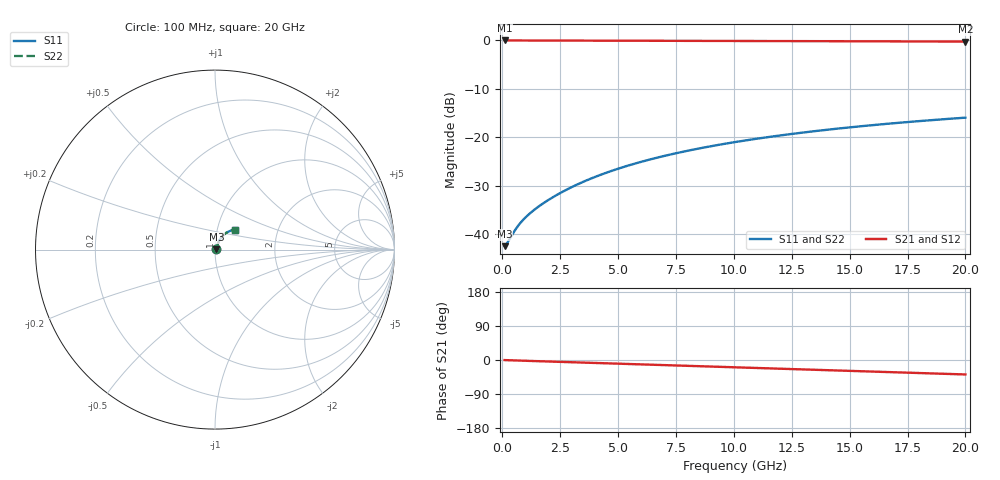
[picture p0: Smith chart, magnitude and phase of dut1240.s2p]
! Touchstone file exported from HFSS 2026.1.0
!  File:  C:/ffzhzh/LocalFiles/Ansys_Project_Files/temp_train_BSMRDL_1240_1783177145_51560.aedt
!  Generated:  11:00:11 PM Jul  4, 2026
!  Design:  BSMRDL
!  Project:  temp_train_BSMRDL_1240_1783177145_51560
! Variables:
!  h_bsmrdl = 2.16um
!  h_ox = 20um
!  h_rdl = 5um
!  h_sub = 80um
!  h_tmrdl = 5um
!  h_tsv = 80um
!  h_via = 3um
!  l_bsmrdl = 665.65um
!  l_sub = 1065.65um
!  l_tmrdl = 200um
!  m_sub = 200um
!  pitch = 20.27um
!  r_tsv = 6um
!  s_tmrdl = 10um
!  w_bsmrdl = 15.02um
!  w_sub = 500um
!  w_tmrdl = 12um
!  x_tsv_center1 = 206um
!  x_tsv_center2 = 886.67um
!  x_tsv_center3 = 1098.67um
!  x_tsv_center4 = 1779.34um
!  x_tsv_center5 = 1991.34um
!  x_tsv_center6 = 2672.01um
# GHz S MA R 50.000000
! Terminal data exported
! Port[1] = BSM_RDL1_1_T1
! Port[2] = BSM_RDL1_1_T2
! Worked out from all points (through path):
!   200 points, 100 MHz to 20 GHz, reference 50 ohm
!   highest |S21| = -0.06 dB at 100 MHz (marker M1); lowest = -0.3 dB at 20 GHz (marker M2)
!   group delay of S21, straight-line fit = 5.28 ps
!   lowest |S11| = -42.4 dB at 100 MHz (marker M3), VSWR 1.02, Z = 50.7 + j0.139 ohm
!   |S11| at or under -10 dB: start of sweep to end of sweep
!   |S22| runs from -42.4 to -16.0 dB; largest |S21 - S12| = 5.3e-15
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0.1  0.007543 10.4  0.9926 -0.2  0.9926 -0.2  0.007543 10.4
! Gamma 0 0 0 0
! Port Impedance 50 0 50 0
0.2  0.008053 19.5  0.9924 -0.4  0.9924 -0.4  0.008054 19.5
0.5  0.01057 36.2  0.9916 -1.1  0.9916 -1.1  0.01056 36.2
0.7  0.01238 41.7  0.9909 -1.5  0.9909 -1.5  0.01237 41.7
0.8  0.01324 43.7  0.9906 -1.7  0.9906 -1.7  0.01324 43.7
1  0.0149 46.8  0.9902 -2.1  0.9902 -2.1  0.0149 46.8
1.3  0.01726 50.5  0.9896 -2.6  0.9896 -2.6  0.01725 50.6
1.8  0.0211 55.2  0.9889 -3.6  0.9889 -3.6  0.02109 55.2
2.3  0.025 58.6  0.9885 -4.6  0.9885 -4.6  0.02499 58.6
2.9  0.02982 61.4  0.9881 -5.7  0.9881 -5.7  0.02981 61.4
3.5  0.03476 63.1  0.9876 -6.9  0.9876 -6.9  0.03474 63.2
4.2  0.04061 64.3  0.9871 -8.2  0.9871 -8.2  0.04059 64.4
5  0.04736 64.9  0.9865 -9.8  0.9865 -9.8  0.04734 65.0
5.9  0.05496 64.9  0.9856 -11.5  0.9856 -11.5  0.05493 65.0
6.8  0.06252 64.4  0.9848 -13.2  0.9848 -13.2  0.06249 64.5
8.4  0.07578 62.8  0.983 -16.3  0.983 -16.3  0.07574 63.0
10.1  0.0895 60.6  0.9808 -19.6  0.9808 -19.6  0.08944 60.8
11.7  0.102 58.2  0.9787 -22.6  0.9787 -22.6  0.1019 58.5
13.4  0.1148 55.5  0.9762 -25.8  0.9762 -25.8  0.1147 55.8
15  0.1263 52.9  0.9738 -28.8  0.9738 -28.8  0.1262 53.2
16.7  0.138 50.0  0.9712 -32.0  0.9712 -32.0  0.1379 50.4
20  0.159 44.3  0.9661 -38.1  0.9661 -38.1  0.1588 44.8
